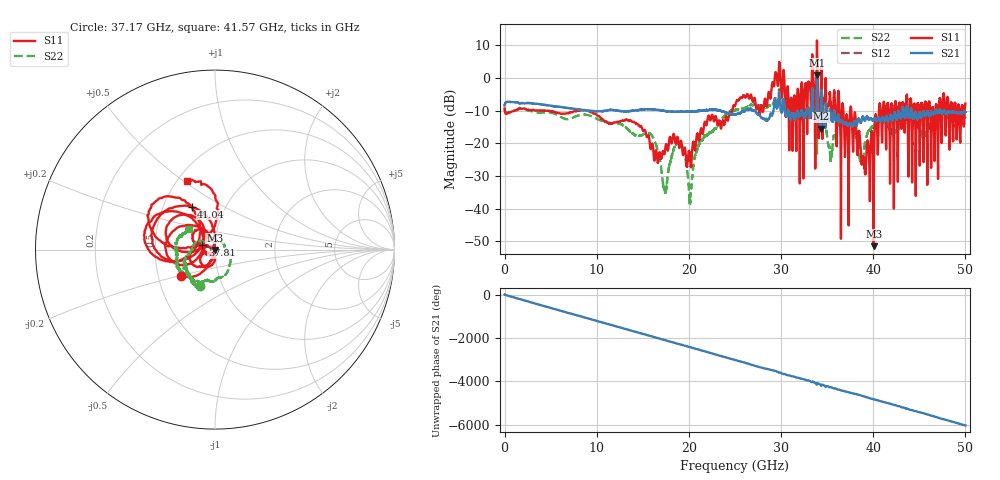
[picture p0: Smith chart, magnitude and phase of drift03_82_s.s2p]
!Created with skrf (http://scikit-rf.org).
# Hz S RI R 50.0
!freq ReS11 ImS11 ReS21 ImS21 ReS12 ImS12 ReS22 ImS22
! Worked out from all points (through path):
!   10001 points, 300 kHz to 50 GHz, reference 50 ohm
!   highest |S21| = 0.77 dB at 33.9 GHz (marker M1); lowest = -15.5 dB at 34.32 GHz (marker M2)
!   group delay of S21, straight-line fit = 335 ps
!   lowest |S11| = -51.5 dB at 40.05 GHz (marker M3), VSWR 1.01, Z = 49.8 - j0.199 ohm
!   |S11| at or under -10 dB: 4.468 GHz to 7.953 GHz (3.485 GHz wide, 56.1 % of centre); 9.028 GHz to 24.7 GHz (15.67 GHz wide, 92.9 % of centre); 37.62 GHz to 40.62 GHz (2.998 GHz wide, 7.66 % of centre) (the widest 3 of 55)
!   |S22| runs from -39.1 to -5.8 dB; largest |S21 - S12| = 0.11
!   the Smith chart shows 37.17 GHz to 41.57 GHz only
!   S11 on the Smith chart (normalised r, x): 37.17 GHz: 0.66, -0.20; 37.81 GHz: 0.87, +0.04; 41.04 GHz: 0.69, +0.36; 41.57 GHz: 0.56, +0.52
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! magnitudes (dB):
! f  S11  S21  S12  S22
! 300 kHz  -9.3  -8.4  -8.5  -9.3
! 8.335 GHz  -9.9  -9.8  -9.8  -11.3
! 16.67 GHz  -25.4  -9.8  -9.8  -22.9
! 17.4 GHz  -22.4  -10.1  -10.1  -34.8
! 19.09 GHz  -19.5  -10.3  -10.3  -20.1
! 20.14 GHz  -25.2  -10.3  -10.3  -38.2
! 21.22 GHz  -17.0  -10.1  -10.1  -19.7
! 25 GHz  -8.6  -11.1  -11.1  -9.8
! 29.66 GHz  -2.3  -8.3  -8.4  -7.1
! 31.08 GHz  -6.1  -12.6  -12.7  -10.5
! 33.34 GHz  0.5  -7.4  -7.5  -9.4
! 33.9 GHz  11.5  0.8  0.3  -23.2
! 34.32 GHz  -2.9  -15.5  -14.9  -11.2
! 35.35 GHz  -7.2  -10.9  -10.4  -25.0
! 37.17 GHz  -12.5  -14.1  -14.1  -13.1
! 37.81 GHz  -22.6  -14.6  -14.6  -14.4
! 38.71 GHz  -25.2  -13.4  -13.2  -25.4
! 40.05 GHz  -51.5  -12.7  -12.8  -15.1
! 41.04 GHz  -11.3  -12.1  -12.1  -13.4
! 41.57 GHz  -7.7  -12.5  -12.6  -14.6
! 41.67 GHz  -9.6  -13.2  -13.1  -14.4
! 50 GHz  -7.9  -10.5  -10.5  -12.0
